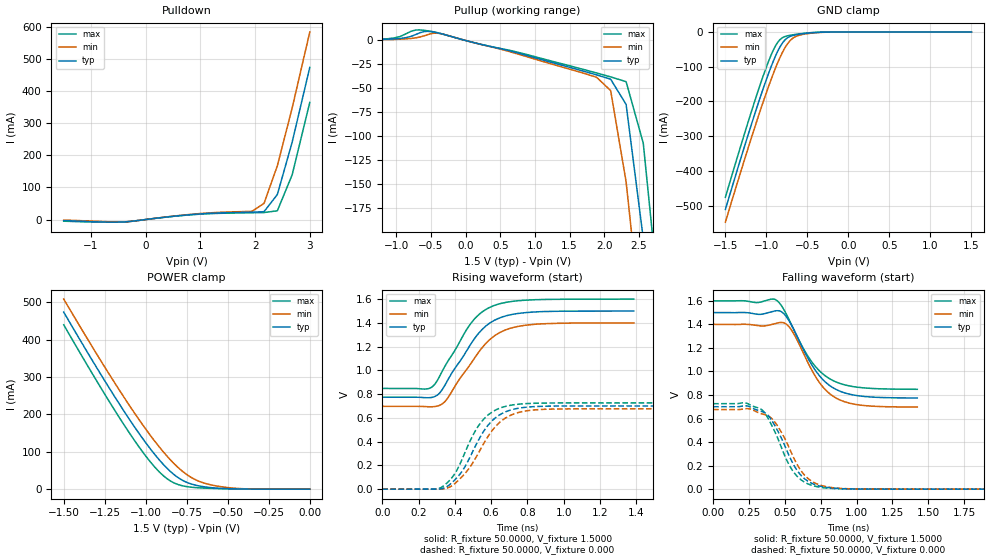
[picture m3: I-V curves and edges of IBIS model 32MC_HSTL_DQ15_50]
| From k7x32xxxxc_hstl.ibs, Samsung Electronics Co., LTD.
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|   Model 32MC_HSTL_DQ15_50
[Model]   32MC_HSTL_DQ15_50
Model_type   I/O
Polarity   Non-Inverting
Enable   Active-High
Vinl = 0.5500V
Vinh = 0.9500V
Vmeas = 0.7500V
Cref =  0.000F
Rref =50.0000
Vref = 0.7500V
C_comp   0.8590pF   0.8410pF   0.8720pF
[Model Spec]
|   Typ   Min   Max
Vinl 0.55   0.5   0.6 |VREF - 0.2V AC spec for timing simulation
Vinh 0.95   0.9   1.0 |VREF + 0.2V AC spec for timing simulation
|[Model Spec]
|   Typ   Min   Max
|Vinl 0.65   0.6   0.7 |VREF - 0.1V DC spec for noise measurement
|Vinh 0.85   0.8   0.9 |VREF + 0.1V DC spec for noise measurement
Vmeas  0.7500V   0.7000V   0.8000V |VDDQ/2
[Temperature Range]   55.0000   0.1100k   0.000
[Voltage Range]   1.5000V   1.4000V   1.6000V
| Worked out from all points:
|   slope of the pulldown table from 0 to 0.225 V, typ, clamps not added: 47.3 ohm
|   slope of the pullup table from 0 to 0.225 V, typ, clamps not added: 54.7 ohm
|   GND clamp passes 1 mA (typ) near -0.38 V on its own axis
|   POWER clamp passes 1 mA (typ) near -0.47 V on its own axis
|   rising waveform, R_fixture 50.0000, V_fixture 1.5000: 20-80 % time 196ps typ, 203ps min, 187ps max; typ from 0.774 V to 1.5 V
|   rising waveform, R_fixture 50.0000, V_fixture 0.000: 20-80 % time 161ps typ, 175ps min, 148ps max; typ from 0 V to 0.7 V
|   falling waveform, R_fixture 50.0000, V_fixture 1.5000: 20-80 % time 212ps typ, 199ps min, 221ps max; typ from 1.5 V to 0.774 V
|   falling waveform, R_fixture 50.0000, V_fixture 0.000: 20-80 % time 177ps typ, 179ps min, 169ps max; typ from 0.7 V to 0 V
[Pulldown]
| voltage   I(typ)   I(min/slow/weak)   I(max/fast/strong)
-1.5V     -3.3mA     -1.9mA     -5.2mA
-762mV    -7.79mA    -6.5mA     -7.9mA
-316mV    -6.509mA   -6.49mA    -6.56mA
919mV     16.53mA    17.59mA    15.92mA
1.944V    22.77mA    25.73mA    21.17mA
2.163V    24.47mA    50.25mA    21.67mA
2.407V    77.97mA    167.6mA    27.26mA
2.678V    241.4mA    348mA      139.4mA
3V        474.4mA    584.5mA    365.3mA
[Pullup]
| voltage   I(typ)   I(min/slow/weak)   I(max/fast/strong)
-1.5V     700uA      600uA      700uA
-1.037V   1.6mA      1mA        2.5mA
-862mV    2.87mA     1.64mA     6.8mA
-716mV    6.23mA     2.73mA     10.93mA
-542mV    9.519mA    6.132mA    10.03mA
-373mV    7.47mA     7.273mA    7.497mA
617mV     -10.49mA   -11.29mA   -10.01mA
1.889V    -35.91mA   -38.46mA   -33.94mA
2.091V    -40.41mA   -52.28mA   -38.01mA
2.314V    -66.81mA   -147.6mA   -43.01mA
2.561V    -206.8mA   -315.3mA   -107.2mA
3V        -536.9mA   -652.7mA   -423.6mA
[GND_clamp]
| voltage   I(typ)   I(min/slow/weak)   I(max/fast/strong)
-1.5V     -511.2mA   -547.9mA   -476.1mA
-1.313V   -365mA     -402.8mA   -328.5mA
-1.149V   -241.3mA   -279.9mA   -204.1mA
-1.039V   -162.9mA   -201.3mA   -126.3mA
-956mV    -108.2mA   -145.4mA   -73.89mA
-894mV    -71.84mA   -106.8mA   -42.02mA
-836mV    -43.63mA   -74.25mA   -22.22mA
-768mV    -21.47mA   -43mA      -12.35mA
-682mV    -10.07mA   -18.52mA   -8.022mA
-565mV    -5.078mA   -7.074mA   -4.184mA
-304mV    -305.9uA   -610.7uA   -117.4uA
1.5V      150.9nA    3.23uA     9.728nA
[POWER_clamp]
| voltage   I(typ)   I(min/slow/weak)   I(max/fast/strong)
-1.5V     473.4mA    508.4mA    439.6mA
-1.268V   302.8mA    339.4mA    267mA
-1.088V   179.2mA    216.4mA    142.8mA
-962mV    102.2mA    138.1mA    67.83mA
-905mV    72.14mA    106.3mA    40.93mA
-864mV    53.29mA    85.31mA    26.08mA
-800mV    30.16mA    56.83mA    11.93mA
-740mV    16.52mA    36.13mA    6.215mA
-674mV    8.574mA    20.91mA    3.576mA
-604mV    4.168mA    11.67mA    2.173mA
-413mV    492.5uA    1.316mA    210.6uA
0V        150.9nA    944.5nA    11.77nA
[Ramp]
| variable   typ   min(slow/weak)   max(fast/strong)
dV/dt_r   0.4202/0.1608n   0.4057/0.1748n   0.4355/0.1485n
dV/dt_f   0.4357/0.2120n   0.4219/0.1995n   0.4513/0.2216n
R_load = 50.0000
[Rising Waveform]
R_fixture = 50.0000
V_fixture = 1.5000
V_fixture_min = 1.4000
V_fixture_max = 1.6000
L_fixture = 0.000H
C_fixture = 0.000F
| time   V(typ)   V(min)   V(max)
0s        773.9mV    696.9mV    847.8mV
248ps     769.5mV    694.1mV    844.1mV
304ps     792.2mV    699.5mV    915.6mV
352ps     892.7mV    748.7mV    1.052V
487ps     1.218V     1.054V     1.392V
554ps     1.349V     1.197V     1.495V
619ps     1.422V     1.291V     1.547V
703ps     1.466V     1.353V     1.577V
849ps     1.492V     1.389V     1.595V
1.387ns   1.5V       1.399V     1.6V
[Rising Waveform]
R_fixture = 50.0000
V_fixture = 0.000
V_fixture_min = 0.000
V_fixture_max = 0.000
L_fixture = 0.000H
C_fixture = 0.000F
| time   V(typ)   V(min)   V(max)
0s        2.996uV    20.01uV    0V
297ps     207.9uV    9.651uV    1.794mV
357ps     22.18mV    8.861mV    52.42mV
441ps     152.9mV    107.1mV    254.9mV
505ps     336.4mV    236.4mV    468.4mV
555ps     477.3mV    372mV      581.6mV
640ps     618.4mV    552mV      676.7mV
737ps     677.1mV    639.1mV    712.6mV
971ps     699.6mV    675mV      725.5mV
3.999ns   700.3mV    676.2mV    725.9mV
[Falling Waveform]
R_fixture = 50.0000
V_fixture = 1.5000
V_fixture_min = 1.4000
V_fixture_max = 1.6000
L_fixture = 0.000H
C_fixture = 0.000F
| time   V(typ)   V(min)   V(max)
0s        1.5V       1.4V       1.6V
330ps     1.485V     1.387V     1.589V
427ps     1.513V     1.405V     1.614V
489ps     1.495V     1.415V     1.534V
550ps     1.385V     1.345V     1.388V
668ps     1.098V     1.058V     1.116V
749ps     952.2mV    892.7mV    996.3mV
825ps     869.8mV    799.3mV    929.3mV
1.017ns   792.6mV    715.7mV    864.6mV
1.423ns   774.5mV    697.5mV    848.4mV
[Falling Waveform]
R_fixture = 50.0000
V_fixture = 0.000
V_fixture_min = 0.000
V_fixture_max = 0.000
L_fixture = 0.000H
C_fixture = 0.000F
| time   V(typ)   V(min)   V(max)
0s        700.3mV    676.2mV    725.9mV
231ps     708.1mV    683.8mV    731.2mV
339ps     660.3mV    640.3mV    675.3mV
398ps     604.1mV    611.3mV    568.1mV
474ps     438.7mV    487.9mV    361mV
565ps     199mV      258.3mV    139.2mV
649ps     77.72mV    104.9mV    51.96mV
746ps     25.26mV    34.63mV    16.34mV
1.055ns   654.2uV    1.029mV    350uV
3.999ns   0V         17.22uV    -2.09uV
